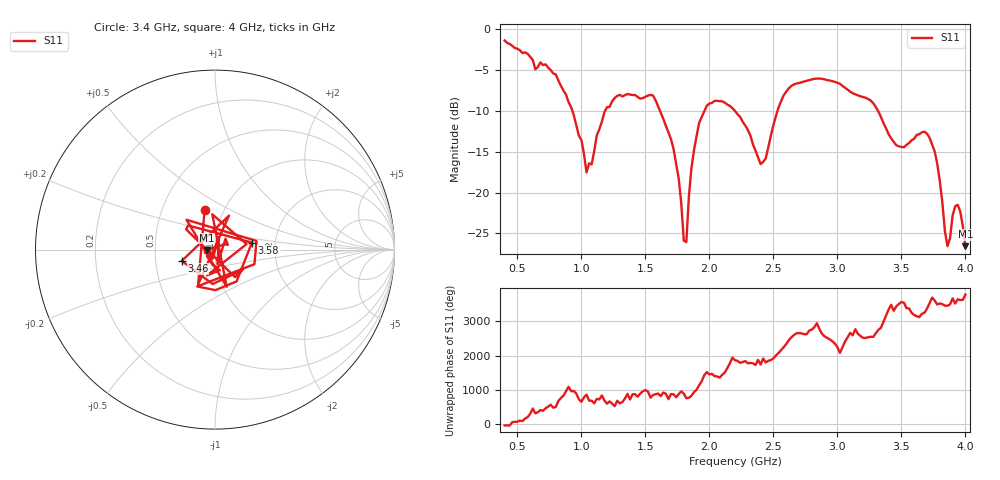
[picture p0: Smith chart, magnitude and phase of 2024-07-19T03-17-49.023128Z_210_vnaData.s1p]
!Created with skrf (http://scikit-rf.org).
# Hz S RI R 50.0
!freq ReS11 ImS11
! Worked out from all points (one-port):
!   181 points, 400 MHz to 4 GHz, reference 50 ohm
!   lowest |S11| = -26.6 dB at 4 GHz (marker M1), VSWR 1.10, Z = 45.5 - j0.243 ohm
!   |S11| at or under -10 dB: 1.615 GHz to 1.961 GHz (345.9 MHz wide, 19.3 % of centre); 2.201 GHz to 2.532 GHz (331 MHz wide, 14 % of centre); 3.318 GHz to end of sweep (the widest 3 of 4)
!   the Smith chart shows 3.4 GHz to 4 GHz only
!   S11 on the Smith chart (normalised r, x): 3.4 GHz: 0.81, +0.38; 3.46 GHz: 0.68, -0.09; 3.58 GHz: 1.51, +0.12; 4 GHz: 0.91, -0.00
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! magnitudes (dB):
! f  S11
! 400 MHz  -1.4
! 860 MHz  -7.5
! 1 GHz  -13.6
! 1.04 GHz  -17.5
! 1.18 GHz  -10.1
! 1.3 GHz  -8.0
! 1.56 GHz  -8.1
! 1.7 GHz  -13.5
! 1.76 GHz  -18.2
! 1.8 GHz  -25.9
! 1.82 GHz  -26.1
! 1.86 GHz  -17.0
! 1.92 GHz  -11.4
! 2.04 GHz  -8.8
! 2.2 GHz  -10.0
! 2.4 GHz  -16.5
! 2.66 GHz  -6.7
! 3.1 GHz  -7.6
! 3.28 GHz  -9.0
! 3.4 GHz  -12.8
! 3.46 GHz  -14.2
! 3.56 GHz  -13.9
! 3.58 GHz  -13.6
! 3.72 GHz  -13.3
! 3.78 GHz  -16.5
! 3.86 GHz  -26.5
! 3.94 GHz  -21.5
! 4 GHz  -26.6
